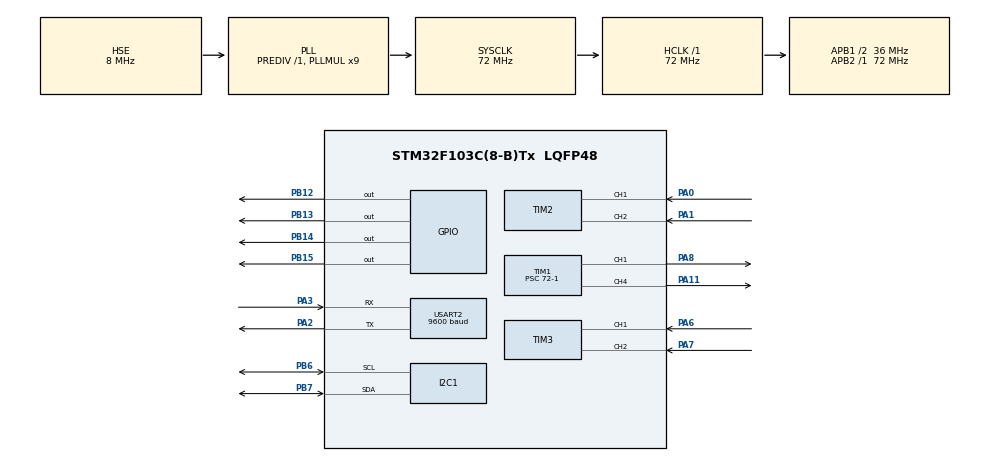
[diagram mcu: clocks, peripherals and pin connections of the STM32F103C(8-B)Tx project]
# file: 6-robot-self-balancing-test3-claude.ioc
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I2C1.I2C_Mode=I2C_Fast
Mcu.Family=STM32F1
Mcu.Name=STM32F103C(8-B)Tx
Mcu.Package=LQFP48
NVIC.PriorityGroup=NVIC_PRIORITYGROUP_4
NVIC.TIM1_UP_IRQn=true\:0\:0\:false\:false\:true\:true\:true\:true
NVIC.TIM4_IRQn=true\:1\:0\:true\:false\:true\:true\:true\:true
NVIC.USART2_IRQn=true\:2\:0\:true\:false\:true\:true\:true\:true
PA0-WKUP.Signal=S_TIM2_CH1_ETR
PA1.Signal=S_TIM2_CH2
PA11.Signal=S_TIM1_CH4
PA2.Mode=Asynchronous
PA2.Signal=USART2_TX
PA3.Mode=Asynchronous
PA3.Signal=USART2_RX
PA6.Signal=S_TIM3_CH1
PA7.Signal=S_TIM3_CH2
PA8.Signal=S_TIM1_CH1
PB12.GPIO_Speed=GPIO_SPEED_FREQ_HIGH
PB12.Signal=GPIO_Output
PB13.GPIO_Speed=GPIO_SPEED_FREQ_HIGH
PB13.Signal=GPIO_Output
PB14.GPIO_Speed=GPIO_SPEED_FREQ_HIGH
PB14.Signal=GPIO_Output
PB15.GPIO_Speed=GPIO_SPEED_FREQ_HIGH
PB15.Signal=GPIO_Output
PB6.Mode=I2C
PB6.Signal=I2C1_SCL
PB7.Mode=I2C
PB7.Signal=I2C1_SDA
PD0-OSC_IN.Mode=HSE-External-Oscillator
PD0-OSC_IN.Signal=RCC_OSC_IN
PD1-OSC_OUT.Mode=HSE-External-Oscillator
PD1-OSC_OUT.Signal=RCC_OSC_OUT
ProjectManager.HeapSize=0x200
ProjectManager.StackSize=0x400
ProjectManager.TargetToolchain=STM32CubeIDE
RCC.AHBFreq_Value=72000000
RCC.APB1CLKDivider=RCC_HCLK_DIV2
RCC.APB1Freq_Value=36000000
RCC.APB1TimFreq_Value=72000000
RCC.APB2Freq_Value=72000000
RCC.APB2TimFreq_Value=72000000
RCC.HCLKFreq_Value=72000000
RCC.PLLMUL=RCC_PLL_MUL9
RCC.PLLSourceVirtual=RCC_PLLSOURCE_HSE
RCC.SYSCLKFreq_VALUE=72000000
RCC.SYSCLKSource=RCC_SYSCLKSOURCE_PLLCLK
RCC.USBFreq_Value=72000000
SH.S_TIM1_CH1.0=TIM1_CH1,PWM Generation1 CH1
SH.S_TIM1_CH4.0=TIM1_CH4,PWM Generation4 CH4
SH.S_TIM2_CH1_ETR.0=TIM2_CH1,Encoder_Interface
SH.S_TIM2_CH2.0=TIM2_CH2,Encoder_Interface
SH.S_TIM3_CH1.0=TIM3_CH1,Encoder_Interface
SH.S_TIM3_CH2.0=TIM3_CH2,Encoder_Interface
TIM1.Channel-PWM\ Generation1\ CH1=TIM_CHANNEL_1
TIM1.Channel-PWM\ Generation4\ CH4=TIM_CHANNEL_4
TIM1.Period=999
TIM1.Prescaler=72-1
TIM2.IC1Filter=4
TIM3.IC1Filter=4
TIM3.IC2Filter=4
TIM4.AutoReloadPreload=TIM_AUTORELOAD_PRELOAD_ENABLE
TIM4.Period=500-1
TIM4.Prescaler=720-1
USART2.BaudRate=9600
USART2.VirtualMode=VM_ASYNC
VP_SYS_VS_ND.Mode=No_Debug
VP_TIM1_VS_ClockSourceINT.Mode=Internal
VP_TIM4_VS_ClockSourceINT.Mode=Internal
board=custom

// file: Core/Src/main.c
/* USER CODE BEGIN Header */
/**
  ******************************************************************************
  * @file           : main.c
  * @brief          : Main program body
  ******************************************************************************
  * @attention
  *
  * Copyright (c) 2026 STMicroelectronics.
  * All rights reserved.
  *
  * This software is licensed under terms that can be found in the LICENSE file
  * in the root directory of this software component.
  * If no LICENSE file comes with this software, it is provided AS-IS.
  *
  ******************************************************************************
  */
/* USER CODE END Header */
#include "main.h"

/* USER CODE BEGIN Includes */
#include "debug.h"
#include "mpu6050.h"
#include "pid.h"
#include "lpf.h"
#include "motor.h"
#include "encoder.h"
#include "ring_buffer.h"
#include "bt_command.h"
#include <stdbool.h>
#include <math.h>
#include <stdio.h>
/* USER CODE END Includes */

I2C_HandleTypeDef hi2c1;

TIM_HandleTypeDef htim1;
TIM_HandleTypeDef htim2;
TIM_HandleTypeDef htim3;
TIM_HandleTypeDef htim4;

UART_HandleTypeDef huart2;

/* USER CODE BEGIN PV */
/* ── IMU & cascade PID state ─────────────────────────────────────────── */
static MPU6050_Data_t g_imu           = {0};

/* Inner loop: pitch error → PWM  (stabilization) */
static PID_t          g_pid_stb;
/* Outer loop: velocity error → target pitch offset */
static PID_t          g_pid_vel;

/* Low-pass filters (ported from Arduino FOC) */
static LPF_t          g_lpf_pitch_cmd = { .Tf = 0.07f, .y = 0.0f };
static LPF_t          g_lpf_throttle  = { .Tf = 0.5f,  .y = 0.0f };
static LPF_t          g_lpf_steering  = { .Tf = 0.1f,  .y = 0.0f };

/* User commands (set from BT, read in ISR) */
static volatile float g_throttle      = 0.0f;   // target encoder velocity (counts/loop)
static volatile float g_steering      = 0.0f;   // differential PWM adjustment
static volatile int   g_enabled       = 1;       // 1=running, 0=disabled

/* Debug exports – written by ISR, read by main loop */
static volatile float g_pid_stb_out   = 0.0f;
static volatile float g_pid_vel_out   = 0.0f;
static volatile float g_target_pitch  = 0.0f;

/* BT UART */
static RingBuffer_t   g_bt_rb;
static uint8_t        s_uart_rx_byte;
/* USER CODE END PV */

void SystemClock_Config(void);
static void MX_GPIO_Init(void);
static void MX_I2C1_Init(void);
static void MX_TIM1_Init(void);
static void MX_TIM4_Init(void);
static void MX_USART2_UART_Init(void);
static void MX_TIM2_Init(void);
static void MX_TIM3_Init(void);
/* USER CODE BEGIN PFP */
static void apply_bt_command(const BT_Command_t *cmd);
/* USER CODE END PFP */

int main(void)
{

  /* MCU Configuration--------------------------------------------------------*/

  /* Reset of all peripherals, Initializes the Flash interface and the Systick. */
  HAL_Init();

  /* Configure the system clock */
  SystemClock_Config();

  /* Initialize all configured peripherals */
  MX_GPIO_Init();
  MX_I2C1_Init();
  MX_TIM1_Init();
  MX_TIM4_Init();
  MX_USART2_UART_Init();
  MX_TIM2_Init();
  MX_TIM3_Init();
  /* USER CODE BEGIN 2 */
  rb_init(&g_bt_rb);
  Debug_Init(&huart2);

  while (!MPU6050_Init(&hi2c1)) {
      HAL_Delay(100);
  }
  Debug_Print("MPU6050 OK\r\n");

  /* ── Inner stabilisation PID (angle → PWM) ───────────────────────────
     Ported from Arduino FOC: pid_stb{P=30,I=100,D=1,limit=7V}
     Scaled for degrees and PWM (999 max instead of 7V):
       P = 30 * (999/7) / (180/π) ≈ 75  → start at 50 (DC motors need less)
       I = 100 * (999/7) / (180/π) ≈ 250 → start at 100
       D = 1   * (999/7) / (180/π) ≈ 2.5                                   */
  PID_Init(&g_pid_stb,
           /*Kp=*/  50.0f,
           /*Ki=*/  100.0f,
           /*Kd=*/  2.5f,
           /*int_limit=*/  400.0f,
           /*out_limit=*/  (float)MOTOR_PWM_MAX);

  /* ── Outer velocity PID (encoder velocity → target pitch offset) ──────
     Ported from Arduino FOC: pid_vel{P=0.01,I=0.03,D=0,limit=π/10≈18°}
     Velocity units: encoder delta counts per 5ms loop tick
     Output: pitch offset in degrees (max ±10°)                            */
  PID_Init(&g_pid_vel,
           /*Kp=*/  0.5f,
           /*Ki=*/  1.0f,
           /*Kd=*/  0.0f,
           /*int_limit=*/  5.0f,
           /*out_limit=*/  10.0f);

  Encoder_Start();

  HAL_TIM_PWM_Start(&htim1, MOTOR_B_PWM_CH);
  HAL_TIM_PWM_Start(&htim1, MOTOR_A_PWM_CH);
  Motor_Stop();

  HAL_UART_Receive_IT(&huart2, &s_uart_rx_byte, 1);
  HAL_TIM_Base_Start_IT(&htim4);

  Debug_Print("Cascade PID ready\r\n");
  /* USER CODE END 2 */

  /* Infinite loop */
  while (1)
  {

    /* USER CODE BEGIN 3 */
      BT_Command_t cmd;
      if (BT_Parse(&g_bt_rb, &cmd)) {
          apply_bt_command(&cmd);
      }

      if (fabsf(g_imu.angle) > 45.0f) {
          Motor_Stop();
          PID_Reset(&g_pid_stb);
          PID_Reset(&g_pid_vel);
          LPF_Reset(&g_lpf_pitch_cmd);
          Debug_Print("FALL DETECTED\r\n");
      }

      Debug_Update(g_imu.angle,
                   g_imu.gyro_rate,
                   g_target_pitch,
                   g_pid_stb_out,
                   enc_left.delta,
                   enc_right.delta,
                   g_pid_vel_out,
                   g_pid_stb.Kp,
                   g_pid_vel.Kp,
                   g_pid_vel.Ki);

      __WFI();
  }
  /* USER CODE END 3 */
}

void SystemClock_Config(void)
{
  RCC_OscInitTypeDef RCC_OscInitStruct = {0};
  RCC_ClkInitTypeDef RCC_ClkInitStruct = {0};

  /** Initializes the RCC Oscillators according to the specified parameters
  * in the RCC_OscInitTypeDef structure.
  */
  RCC_OscInitStruct.OscillatorType = RCC_OSCILLATORTYPE_HSE;
  RCC_OscInitStruct.HSEState = RCC_HSE_ON;
  RCC_OscInitStruct.HSEPredivValue = RCC_HSE_PREDIV_DIV1;
  RCC_OscInitStruct.HSIState = RCC_HSI_ON;
  RCC_OscInitStruct.PLL.PLLState = RCC_PLL_ON;
  RCC_OscInitStruct.PLL.PLLSource = RCC_PLLSOURCE_HSE;
  RCC_OscInitStruct.PLL.PLLMUL = RCC_PLL_MUL9;
  if (HAL_RCC_OscConfig(&RCC_OscInitStruct) != HAL_OK)
  {
    Error_Handler();
  }

  /** Initializes the CPU, AHB and APB buses clocks
  */
  RCC_ClkInitStruct.ClockType = RCC_CLOCKTYPE_HCLK|RCC_CLOCKTYPE_SYSCLK
                              |RCC_CLOCKTYPE_PCLK1|RCC_CLOCKTYPE_PCLK2;
  RCC_ClkInitStruct.SYSCLKSource = RCC_SYSCLKSOURCE_PLLCLK;
  RCC_ClkInitStruct.AHBCLKDivider = RCC_SYSCLK_DIV1;
  RCC_ClkInitStruct.APB1CLKDivider = RCC_HCLK_DIV2;
  RCC_ClkInitStruct.APB2CLKDivider = RCC_HCLK_DIV1;

  if (HAL_RCC_ClockConfig(&RCC_ClkInitStruct, FLASH_LATENCY_2) != HAL_OK)
  {
    Error_Handler();
  }
}

static void MX_I2C1_Init(void)
{

  hi2c1.Instance = I2C1;
  hi2c1.Init.ClockSpeed = 400000;
  hi2c1.Init.DutyCycle = I2C_DUTYCYCLE_2;
  hi2c1.Init.OwnAddress1 = 0;
  hi2c1.Init.AddressingMode = I2C_ADDRESSINGMODE_7BIT;
  hi2c1.Init.DualAddressMode = I2C_DUALADDRESS_DISABLE;
  hi2c1.Init.OwnAddress2 = 0;
  hi2c1.Init.GeneralCallMode = I2C_GENERALCALL_DISABLE;
  hi2c1.Init.NoStretchMode = I2C_NOSTRETCH_DISABLE;
  if (HAL_I2C_Init(&hi2c1) != HAL_OK)
  {
    Error_Handler();
  }

}

static void MX_TIM1_Init(void)
{

  TIM_ClockConfigTypeDef sClockSourceConfig = {0};
  TIM_MasterConfigTypeDef sMasterConfig = {0};
  TIM_OC_InitTypeDef sConfigOC = {0};
  TIM_BreakDeadTimeConfigTypeDef sBreakDeadTimeConfig = {0};

  htim1.Instance = TIM1;
  htim1.Init.Prescaler = 72-1;
  htim1.Init.CounterMode = TIM_COUNTERMODE_UP;
  htim1.Init.Period = 999;
  htim1.Init.ClockDivision = TIM_CLOCKDIVISION_DIV1;
  htim1.Init.RepetitionCounter = 0;
  htim1.Init.AutoReloadPreload = TIM_AUTORELOAD_PRELOAD_DISABLE;
  if (HAL_TIM_Base_Init(&htim1) != HAL_OK)
  {
    Error_Handler();
  }
  sClockSourceConfig.ClockSource = TIM_CLOCKSOURCE_INTERNAL;
  if (HAL_TIM_ConfigClockSource(&htim1, &sClockSourceConfig) != HAL_OK)
  {
    Error_Handler();
  }
  if (HAL_TIM_PWM_Init(&htim1) != HAL_OK)
  {
    Error_Handler();
  }
  sMasterConfig.MasterOutputTrigger = TIM_TRGO_RESET;
  sMasterConfig.MasterSlaveMode = TIM_MASTERSLAVEMODE_DISABLE;
  if (HAL_TIMEx_MasterConfigSynchronization(&htim1, &sMasterConfig) != HAL_OK)
  {
    Error_Handler();
  }
  sConfigOC.OCMode = TIM_OCMODE_PWM1;
  sConfigOC.Pulse = 0;
  sConfigOC.OCPolarity = TIM_OCPOLARITY_HIGH;
  sConfigOC.OCNPolarity = TIM_OCNPOLARITY_HIGH;
  sConfigOC.OCFastMode = TIM_OCFAST_DISABLE;
  sConfigOC.OCIdleState = TIM_OCIDLESTATE_RESET;
  sConfigOC.OCNIdleState = TIM_OCNIDLESTATE_RESET;
  if (HAL_TIM_PWM_ConfigChannel(&htim1, &sConfigOC, TIM_CHANNEL_1) != HAL_OK)
  {
    Error_Handler();
  }
  if (HAL_TIM_PWM_ConfigChannel(&htim1, &sConfigOC, TIM_CHANNEL_4) != HAL_OK)
  {
    Error_Handler();
  }
  sBreakDeadTimeConfig.OffStateRunMode = TIM_OSSR_DISABLE;
  sBreakDeadTimeConfig.OffStateIDLEMode = TIM_OSSI_DISABLE;
  sBreakDeadTimeConfig.LockLevel = TIM_LOCKLEVEL_OFF;
  sBreakDeadTimeConfig.DeadTime = 0;
  sBreakDeadTimeConfig.BreakState = TIM_BREAK_DISABLE;
  sBreakDeadTimeConfig.BreakPolarity = TIM_BREAKPOLARITY_HIGH;
  sBreakDeadTimeConfig.AutomaticOutput = TIM_AUTOMATICOUTPUT_DISABLE;
  if (HAL_TIMEx_ConfigBreakDeadTime(&htim1, &sBreakDeadTimeConfig) != HAL_OK)
  {
    Error_Handler();
  }
  /* USER CODE BEGIN TIM1_Init 2 */
  __HAL_TIM_MOE_ENABLE(&htim1);
  /* USER CODE END TIM1_Init 2 */
  HAL_TIM_MspPostInit(&htim1);

}

static void MX_TIM2_Init(void)
{

  TIM_Encoder_InitTypeDef sConfig = {0};
  TIM_MasterConfigTypeDef sMasterConfig = {0};

  htim2.Instance = TIM2;
  htim2.Init.Prescaler = 0;
  htim2.Init.CounterMode = TIM_COUNTERMODE_UP;
  htim2.Init.Period = 65535;
  htim2.Init.ClockDivision = TIM_CLOCKDIVISION_DIV1;
  htim2.Init.AutoReloadPreload = TIM_AUTORELOAD_PRELOAD_DISABLE;
  sConfig.EncoderMode = TIM_ENCODERMODE_TI1;
  sConfig.IC1Polarity = TIM_ICPOLARITY_RISING;
  sConfig.IC1Selection = TIM_ICSELECTION_DIRECTTI;
  sConfig.IC1Prescaler = TIM_ICPSC_DIV1;
  sConfig.IC1Filter = 4;
  sConfig.IC2Polarity = TIM_ICPOLARITY_RISING;
  sConfig.IC2Selection = TIM_ICSELECTION_DIRECTTI;
  sConfig.IC2Prescaler = TIM_ICPSC_DIV1;
  sConfig.IC2Filter = 0;
  if (HAL_TIM_Encoder_Init(&htim2, &sConfig) != HAL_OK)
  {
    Error_Handler();
  }
  sMasterConfig.MasterOutputTrigger = TIM_TRGO_RESET;
  sMasterConfig.MasterSlaveMode = TIM_MASTERSLAVEMODE_DISABLE;
  if (HAL_TIMEx_MasterConfigSynchronization(&htim2, &sMasterConfig) != HAL_OK)
  {
    Error_Handler();
  }

}

static void MX_TIM3_Init(void)
{

  TIM_Encoder_InitTypeDef sConfig = {0};
  TIM_MasterConfigTypeDef sMasterConfig = {0};

  htim3.Instance = TIM3;
  htim3.Init.Prescaler = 0;
  htim3.Init.CounterMode = TIM_COUNTERMODE_UP;
  htim3.Init.Period = 65535;
  htim3.Init.ClockDivision = TIM_CLOCKDIVISION_DIV1;
  htim3.Init.AutoReloadPreload = TIM_AUTORELOAD_PRELOAD_DISABLE;
  sConfig.EncoderMode = TIM_ENCODERMODE_TI1;
  sConfig.IC1Polarity = TIM_ICPOLARITY_RISING;
  sConfig.IC1Selection = TIM_ICSELECTION_DIRECTTI;
  sConfig.IC1Prescaler = TIM_ICPSC_DIV1;
  sConfig.IC1Filter = 4;
  sConfig.IC2Polarity = TIM_ICPOLARITY_RISING;
  sConfig.IC2Selection = TIM_ICSELECTION_DIRECTTI;
  sConfig.IC2Prescaler = TIM_ICPSC_DIV1;
  sConfig.IC2Filter = 4;
  if (HAL_TIM_Encoder_Init(&htim3, &sConfig) != HAL_OK)
  {
    Error_Handler();
  }
  sMasterConfig.MasterOutputTrigger = TIM_TRGO_RESET;
  sMasterConfig.MasterSlaveMode = TIM_MASTERSLAVEMODE_DISABLE;
  if (HAL_TIMEx_MasterConfigSynchronization(&htim3, &sMasterConfig) != HAL_OK)
  {
    Error_Handler();
  }

}

static void MX_TIM4_Init(void)
{

  TIM_ClockConfigTypeDef sClockSourceConfig = {0};
  TIM_MasterConfigTypeDef sMasterConfig = {0};

  htim4.Instance = TIM4;
  htim4.Init.Prescaler = 720-1;
  htim4.Init.CounterMode = TIM_COUNTERMODE_UP;
  htim4.Init.Period = 500-1;
  htim4.Init.ClockDivision = TIM_CLOCKDIVISION_DIV1;
  htim4.Init.AutoReloadPreload = TIM_AUTORELOAD_PRELOAD_ENABLE;
  if (HAL_TIM_Base_Init(&htim4) != HAL_OK)
  {
    Error_Handler();
  }
  sClockSourceConfig.ClockSource = TIM_CLOCKSOURCE_INTERNAL;
  if (HAL_TIM_ConfigClockSource(&htim4, &sClockSourceConfig) != HAL_OK)
  {
    Error_Handler();
  }
  sMasterConfig.MasterOutputTrigger = TIM_TRGO_RESET;
  sMasterConfig.MasterSlaveMode = TIM_MASTERSLAVEMODE_DISABLE;
  if (HAL_TIMEx_MasterConfigSynchronization(&htim4, &sMasterConfig) != HAL_OK)
  {
    Error_Handler();
  }

}

static void MX_USART2_UART_Init(void)
{

  huart2.Instance = USART2;
  huart2.Init.BaudRate = 9600;
  huart2.Init.WordLength = UART_WORDLENGTH_8B;
  huart2.Init.StopBits = UART_STOPBITS_1;
  huart2.Init.Parity = UART_PARITY_NONE;
  huart2.Init.Mode = UART_MODE_TX_RX;
  huart2.Init.HwFlowCtl = UART_HWCONTROL_NONE;
  huart2.Init.OverSampling = UART_OVERSAMPLING_16;
  if (HAL_UART_Init(&huart2) != HAL_OK)
  {
    Error_Handler();
  }

}

static void MX_GPIO_Init(void)
{
  GPIO_InitTypeDef GPIO_InitStruct = {0};

  /* GPIO Ports Clock Enable */
  __HAL_RCC_GPIOD_CLK_ENABLE();
  __HAL_RCC_GPIOA_CLK_ENABLE();
  __HAL_RCC_GPIOB_CLK_ENABLE();

  /*Configure GPIO pin Output Level */
  HAL_GPIO_WritePin(GPIOB, GPIO_PIN_12|GPIO_PIN_13|GPIO_PIN_14|GPIO_PIN_15, GPIO_PIN_RESET);

  /*Configure GPIO pins : PB12 PB13 PB14 PB15 */
  GPIO_InitStruct.Pin = GPIO_PIN_12|GPIO_PIN_13|GPIO_PIN_14|GPIO_PIN_15;
  GPIO_InitStruct.Mode = GPIO_MODE_OUTPUT_PP;
  GPIO_InitStruct.Pull = GPIO_NOPULL;
  GPIO_InitStruct.Speed = GPIO_SPEED_FREQ_HIGH;
  HAL_GPIO_Init(GPIOB, &GPIO_InitStruct);

}

/* USER CODE BEGIN 4 */
/* ═══════════════════════════════════════════════════════════════════════
   TIM4 PERIOD ELAPSED IRQ  –  200 Hz CONTROL LOOP  (every 5 ms)

   Cascade PID structure (ported from Arduino-FOC-balancer):

     Outer loop (velocity):
       avg_vel = (enc_left.delta + enc_right.delta) / 2   [counts/loop]
       vel_error = avg_vel - lpf_throttle(throttle)
       pitch_offset = lpf_pitch_cmd( pid_vel(vel_error) )   [degrees]

     Inner loop (stabilisation):
       voltage = pid_stb( pitch_offset - measured_pitch )   [→ PWM]

     Steering (differential):
       left  = voltage + lpf_steering(steering)
       right = voltage - lpf_steering(steering)
   ═══════════════════════════════════════════════════════════════════════ */
void HAL_TIM_PeriodElapsedCallback(TIM_HandleTypeDef *htim)
{
    if (htim->Instance != TIM4) return;

    Encoder_Update();
    MPU6050_Update(&hi2c1, &g_imu, CONTROL_LOOP_DT);

    if (!g_enabled) {
        Motor_Stop();
        return;
    }

    /* Outer loop: velocity → target pitch offset */
    float avg_vel   = (float)(enc_left.delta + enc_right.delta) * 0.5f;
    float vel_cmd   = LPF_Update(&g_lpf_throttle, g_throttle, CONTROL_LOOP_DT);
    float vel_error = avg_vel - vel_cmd;
    float pitch_offset = LPF_Update(&g_lpf_pitch_cmd,
                                    PID_Compute(&g_pid_vel, 0.0f, vel_error, CONTROL_LOOP_DT),
                                    CONTROL_LOOP_DT);

    /* Inner loop: pitch error → PWM */
    float target_pitch    = pitch_offset;
    float voltage_control = PID_Compute(&g_pid_stb, target_pitch, g_imu.angle, CONTROL_LOOP_DT);

    /* Steering differential */
    float steer_adj = LPF_Update(&g_lpf_steering, g_steering, CONTROL_LOOP_DT);

    int32_t left_pwm  = (int32_t)(voltage_control + steer_adj);
    int32_t right_pwm = (int32_t)(voltage_control - steer_adj);
    Motor_Set(left_pwm, right_pwm);

    /* Expose to main loop for debug */
    g_pid_stb_out  = voltage_control;
    g_pid_vel_out  = pitch_offset;
    g_target_pitch = target_pitch;
}

/* ═══════════════════════════════════════════════════════════════════════
   USART2 RX COMPLETE IRQ  –  Bluetooth
   ═══════════════════════════════════════════════════════════════════════ */
void HAL_UART_RxCpltCallback(UART_HandleTypeDef *huart)
{
    if (huart->Instance != USART2) return;
    rb_push(&g_bt_rb, s_uart_rx_byte);
    HAL_UART_Receive_IT(&huart2, &s_uart_rx_byte, 1);
}

/* ═══════════════════════════════════════════════════════════════════════
   BT COMMAND APPLICATION  (main loop only, never from ISR)

   Protocol (ASCII + newline):
     P<val>  – pid_stb Kp          (inner stabilisation)
     I<val>  – pid_stb Ki
     D<val>  – pid_stb Kd
     V<val>  – pid_vel Kp          (outer velocity)
     W<val>  – pid_vel Ki
     F<val>  – throttle forward    (target encoder counts/loop)
     B<val>  – throttle backward
     L<val>  – steer left          (differential PWM)
     R<val>  – steer right
     S       – stop all
     A<val>  – reserved (force target pitch, for debug)
     E       – enable balancer
     X       – disable balancer
   ═══════════════════════════════════════════════════════════════════════ */
static void apply_bt_command(const BT_Command_t *cmd)
{
    char buf[48];
    switch (cmd->type) {
        case BT_CMD_FORWARD:
            g_throttle = cmd->value;
            snprintf(buf, sizeof(buf), "Throttle +%.1f\r\n", cmd->value);
            Debug_Print(buf);
            break;
        case BT_CMD_BACKWARD:
            g_throttle = -cmd->value;
            snprintf(buf, sizeof(buf), "Throttle -%.1f\r\n", cmd->value);
            Debug_Print(buf);
            break;
        case BT_CMD_STEER_LEFT:
            g_steering = -cmd->value;
            snprintf(buf, sizeof(buf), "Steer L %.1f\r\n", cmd->value);
            Debug_Print(buf);
            break;
        case BT_CMD_STEER_RIGHT:
            g_steering = cmd->value;
            snprintf(buf, sizeof(buf), "Steer R %.1f\r\n", cmd->value);
            Debug_Print(buf);
            break;
        case BT_CMD_STOP:
            g_throttle = 0.0f;
            g_steering = 0.0f;
            Debug_Print("Stop\r\n");
            break;
        case BT_CMD_ENABLE:
            g_enabled = 1;
            Debug_Print("Enabled\r\n");
            break;
        case BT_CMD_DISABLE:
            g_enabled = 0;
            Motor_Stop();
            PID_Reset(&g_pid_stb);
            PID_Reset(&g_pid_vel);
            LPF_Reset(&g_lpf_pitch_cmd);
            Debug_Print("Disabled\r\n");
            break;
        case BT_CMD_SET_KP:
            g_pid_stb.Kp = cmd->value;
            snprintf(buf, sizeof(buf), "stb Kp=%.3f\r\n", cmd->value);
            Debug_Print(buf);
            break;
        case BT_CMD_SET_KI:
            g_pid_stb.Ki = cmd->value;
            PID_Reset(&g_pid_stb);
            snprintf(buf, sizeof(buf), "stb Ki=%.3f\r\n", cmd->value);
            Debug_Print(buf);
            break;
        case BT_CMD_SET_KD:
            g_pid_stb.Kd = cmd->value;
            snprintf(buf, sizeof(buf), "stb Kd=%.3f\r\n", cmd->value);
            Debug_Print(buf);
            break;
        case BT_CMD_SET_VEL_KP:
            g_pid_vel.Kp = cmd->value;
            snprintf(buf, sizeof(buf), "vel Kp=%.3f\r\n", cmd->value);
            Debug_Print(buf);
            break;
        case BT_CMD_SET_VEL_KI:
            g_pid_vel.Ki = cmd->value;
            PID_Reset(&g_pid_vel);
            snprintf(buf, sizeof(buf), "vel Ki=%.3f\r\n", cmd->value);
            Debug_Print(buf);
            break;
        default:
            break;
    }
}
/* USER CODE END 4 */

void Error_Handler(void)
{
  __disable_irq();
  while (1)
  {
  }
}
